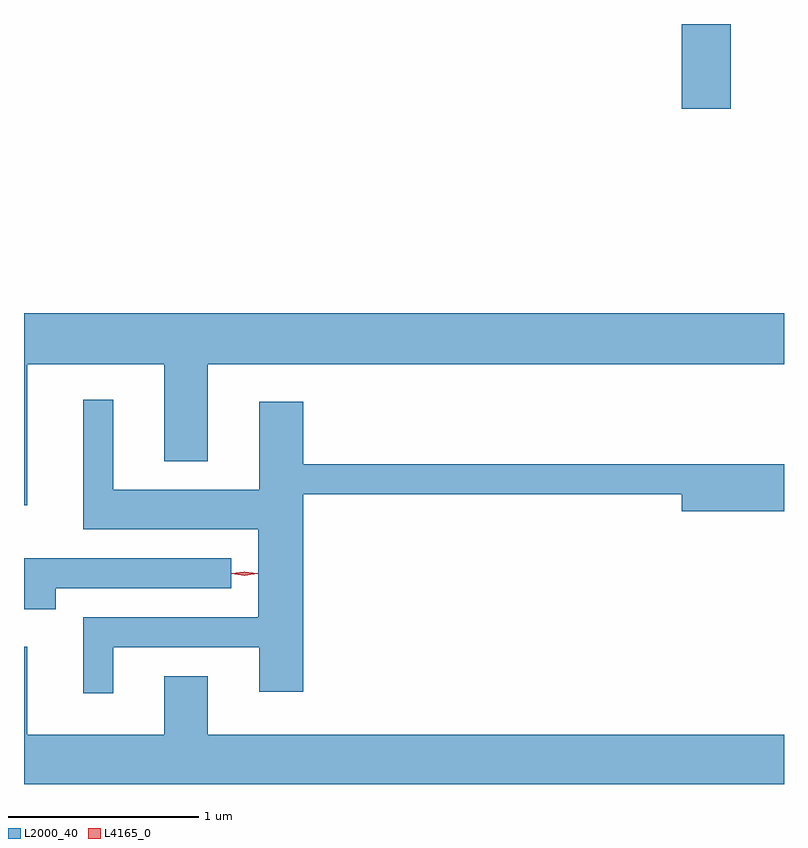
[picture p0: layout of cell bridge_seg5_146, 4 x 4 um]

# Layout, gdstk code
import gdstk
lib = gdstk.Library(unit=1e-6, precision=1e-09)
def R(c, l, rs):  # rectangles x0, y0, x1, y1
    for r in rs: c.add(gdstk.rectangle(r[:2], r[2:], *l))
def P(c, l, *ps):  # polygons
    for p in ps: c.add(gdstk.Polygon(p, *l))
L2000_40 = (2000, 40)
L4165_0 = (4165, 0)

bridge_seg5_146 = lib.new_cell('bridge_seg5_146')
R(bridge_seg5_146, L2000_40, [(1126.576,1449.261,1126.834,1449.706)])
P(bridge_seg5_146, L2000_40, [(1123.129,1447.916),(1123.851,1447.916),(1123.851,1447.406),(1124.079,1447.406),(1124.079,1447.916),(1127.113,1447.916),(1127.113,1448.184),(1123.113,1448.184),(1123.113,1447.173),(1123.129,1447.173)],
  [(1123.584,1446.426),(1124.351,1446.426),(1124.351,1446.191),(1124.584,1446.191),(1124.584,1447.231),(1126.576,1447.231),(1126.576,1447.141),(1127.113,1447.141),(1127.113,1447.389),(1124.584,1447.389),(1124.584,1447.719),(1124.351,1447.719),(1124.351,1447.254),(1123.584,1447.254),(1123.584,1447.728),(1123.426,1447.728),(1123.426,1447.046),(1124.346,1447.046),(1124.346,1446.584),(1123.426,1446.584),(1123.426,1446.183),(1123.584,1446.183)],
  [(1123.279,1446.736),(1124.203,1446.736),(1124.203,1446.894),(1123.113,1446.894),(1123.113,1446.626),(1123.279,1446.626)],
  [(1127.113,1445.964),(1124.079,1445.964),(1124.079,1446.274),(1123.851,1446.274),(1123.851,1445.964),(1123.129,1445.964),(1123.129,1446.428),(1123.113,1446.428),(1123.113,1445.706),(1127.113,1445.706)])
P(bridge_seg5_146, L4165_0, [(1124.273,1446.803),(1124.204,1446.813),(1124.204,1446.813),(1124.204,1446.814),(1124.273,1446.823),(1124.342,1446.814),(1124.342,1446.813),(1124.342,1446.813)],
  [(1124.274,1446.802),(1124.207,1446.812),(1124.207,1446.812),(1124.207,1446.813),(1124.274,1446.822),(1124.34,1446.813),(1124.34,1446.812),(1124.34,1446.812)])

lib.write_gds('bridge_seg5_146.gds')
